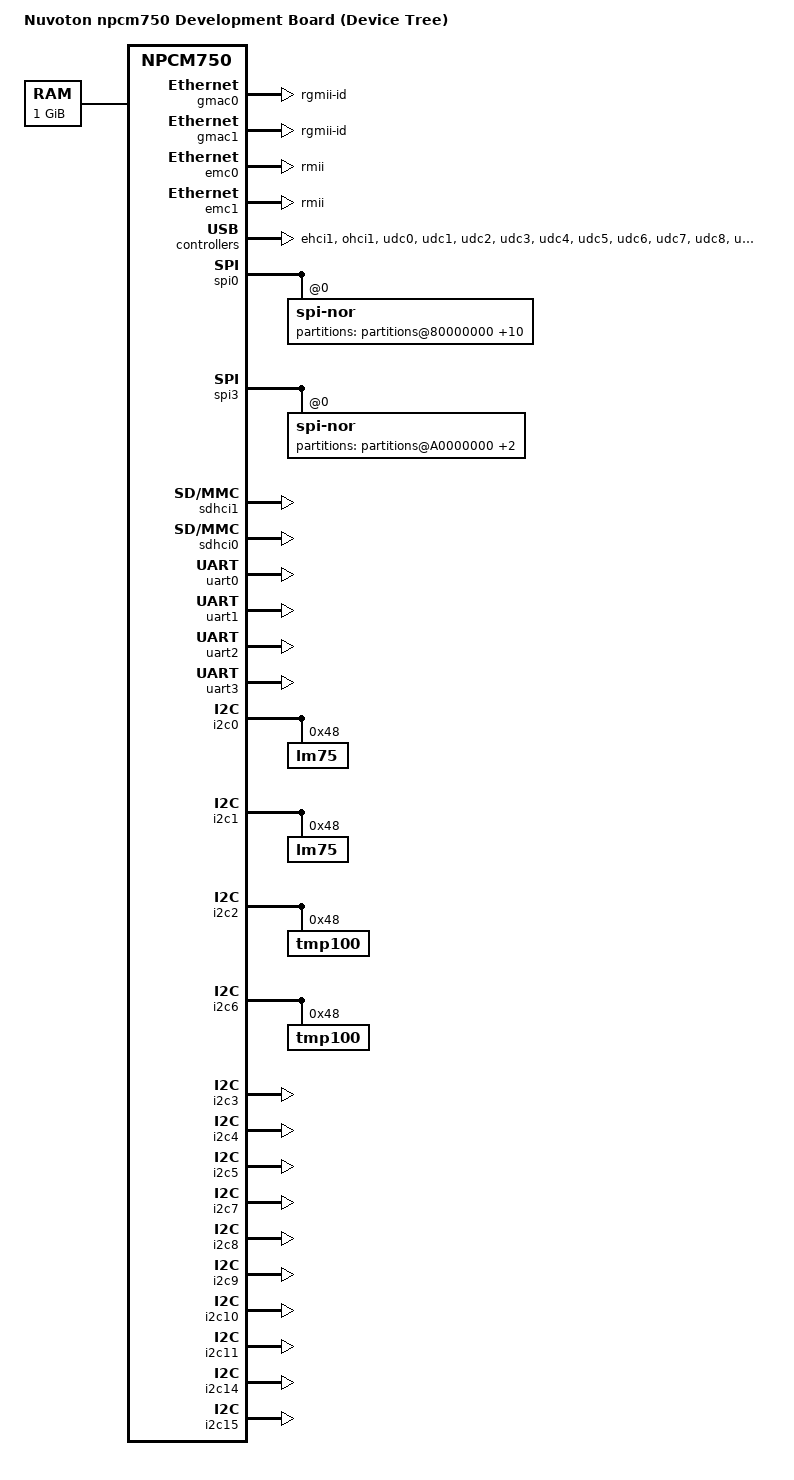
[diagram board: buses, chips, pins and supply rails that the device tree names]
/*
 * DTS file for all NPCMX750 SoCs
 *
 * Copyright 2012 Tomer Maimon <tomer.maimon@nuvoton.com>
 *
 * The code contained herein is licensed under the GNU General Public
 * License. You may obtain a copy of the GNU General Public License
 * Version 2 or later at the following locations:
 *
 * http://www.opensource.org/licenses/gpl-license.html
 * http://www.gnu.org/copyleft/gpl.html
 */

/dts-v1/;
#include "nuvoton-npcm750.dtsi"
#include "nuvoton-npcm750-gpio.dtsi"

/ {
        model = "Nuvoton npcm750 Development Board (Device Tree)";
        compatible = "nuvoton,npcmx50";

 	aliases {
 		ethernet0 = &emc0;
		ethernet1 = &emc1;
		ethernet2 = &gmac0;
		ethernet3 = &gmac1;
		serial0 = &uart0;
		serial1 = &uart1;
		serial2 = &uart2;
		serial3 = &uart3;
		udc0 = &udc0;
		udc1 = &udc1;
		udc2 = &udc2;
		udc3 = &udc3;
		udc4 = &udc4;
		udc5 = &udc5;
		udc6 = &udc6;
		udc7 = &udc7;
		udc8 = &udc8;
		udc9 = &udc9;
		emmc1 = &sdhci1;
		emmc0 = &sdhci0;
		i2c0 = &i2c0;
		i2c1 = &i2c1;
		i2c2 = &i2c2;
		i2c3 = &i2c3;
		i2c4 = &i2c4;
		i2c5 = &i2c5;
		i2c6 = &i2c6;
		i2c7 = &i2c7;
		i2c8 = &i2c8;
		i2c9 = &i2c9;
		i2c10 = &i2c10;
		i2c11 = &i2c11;
		i2c12 = &i2c12;
		i2c13 = &i2c13;
		i2c14 = &i2c14;
		i2c15 = &i2c15;
	};

    memory {
		reg = <0 0x40000000>;
	};
	
	clocks {
		clk: clock-controller@f0801000 {
			status = "okay";
		}; 
	
	};
	
	ahb {	
		gmac0: eth@f0802000 {
			pinctrl-names = "default";
			pinctrl-0 = <&rg1_pins
						 &rg1mdio_pins>;
			phy-mode = "rgmii-id";
			status = "okay";
		};

		gmac1: eth@f0804000 {
			pinctrl-names = "default";
			pinctrl-0 = <&rg2_pins
						 &rg2mdio_pins>;
			phy-mode = "rgmii-id";
			status = "okay";
		};

		emc0: eth@f0825000 {
			pinctrl-names = "default";
			pinctrl-0 = <&r1_pins
						 &r1err_pins
						 &r1md_pins>;
			phy-mode = "rmii";
			#use-ncsi; /* add this to support ncsi */
			status = "okay";
		};

		emc1: eth@f0826000 {
			pinctrl-names = "default";
			pinctrl-0 = <&r2_pins
						 &r2err_pins
						 &r2md_pins>;
			phy-mode = "rmii";
			status = "okay";
		};

		ehci1: ehci@f0806000 {				
			status = "okay";
		};

		ohci1: ohci@f0807000 {				
			status = "okay";
		};
		
		udc0:udc@f0830000 {				
			status = "okay";
		};
		
		udc1:udc@f0831000 {				
			status = "okay";
		};

		udc2:udc@f0832000 {				
			status = "okay";
		};

		udc3:udc@f0833000 {				
			status = "okay";
		};

		udc4:udc@f0834000 {				
			status = "okay";
		};

		udc5:udc@f0835000 {				
			status = "okay";
		};
		
		udc6:udc@f0836000 {				
			status = "okay";
		};

		udc7:udc@f0837000 {				
			status = "okay";
		};
		
		udc8:udc@f0838000 {				
			status = "okay";
		};

		udc9:udc@f0839000 {				
			status = "okay";
		};

		aes:aes@f0858000 {				
			status = "okay";
		};

		sha:sha@f085a000 {				
			status = "okay";
		};
		
		spi0: spi@fb000000 {
			spi-nor@0 {
                partitions@80000000 {
            		compatible = "fixed-partitions";
                    #address-cells = <1>;
    		        #size-cells = <1>;
            		bbuboot1@0 {
            			label = "bb-uboot-1";
            			reg = <0x0000000 0x80000>;
            			read-only;
            		};
            		bbuboot2@80000 {
                        label = "bb-uboot-2";
            			reg = <0x0080000 0x80000>;
                        read-only;
            		};
            		envparam@100000 {
                        label = "env-param";
            			reg = <0x0100000 0x40000>;
                        read-only;
            		};
            		spare@140000 {
                        label = "spare";
            			reg = <0x0140000 0xC0000>;
            		};
            		kernel@200000 {
                        label = "kernel";
            			reg = <0x0200000 0x400000>;
            		};
            		rootfs@600000 {
                        label = "rootfs";
            			reg = <0x0600000 0x700000>;
            		};
            		spare1@D00000 {
                        label = "spare1";
            			reg = <0x0D00000 0x200000>;
            		};
            		spare2@0F00000 {
                        label = "spare2";
            			reg = <0x0F00000 0x200000>;
            		};
            		spare3@1100000 {
                        label = "spare3";
            			reg = <0x1100000 0x200000>;
            		};
            		spare4@1300000 {
                        label = "spare4";
            			reg = <0x1300000 0x0>;
            		};
        	    };
			};
		};
		spi3: spi@c0000000 {
				spi-nor@0 {
				partitions@A0000000 {
					compatible = "fixed-partitions";
					#address-cells = <1>;
					#size-cells = <1>;
					system1@0 {
						label = "spi3-system1";
						reg = <0x0 0x800000>;
					};
					system2@800000 {
						label = "spi3-system2";
						reg = <0x800000 0x0>;
					};
				};
			};
		};
		sdhci1: sdhci@f0842000 {
			pinctrl-names = "default";
			pinctrl-0 = <&sd1_pins>;
			/*bus-width = <8>;
			keep-power-in-suspend;	
			enable-sdio-wakeup;
			non-removable;*/
			status = "okay";
		};

		sdhci0: sdhci@f0840000 {
			pinctrl-names = "default";
			pinctrl-0 = <&mmc8_pins
						 &mmc_pins>;
		 	/*no-1-8-v;
		 	sdhci,auto-cmd12;*/
			status = "okay";
		};

	};

	apb {
	
		watchdog1: watchdog@f0009000 {
			status = "okay";
		};

		rng: rng@f000b000 {
			status = "okay";
		};

		uart0: uart0@f0001000 {				
			status = "okay";
		};

		uart1: uart1@f0002000 {				
			status = "okay";
		};

		uart2: uart2@f0003000 {				
			status = "okay";
		};

		uart3: uart3@f0004000 {
			pinctrl-names = "default";
			pinctrl-0 = <&uart2_pins>;
			status = "okay";
		};

		otp:otp@f0189000 {				
			status = "okay";
		};
		
		
		/* lm75 on SVB */
		i2c0: i2c-bus@f0080000 {
			#address-cells = <1>;
			#size-cells = <0>;
			status = "okay";

			lm75@48 {
				compatible = "lm75";
				reg = <0x48>;
				status = "okay";
			};
		};
		
		/* lm75 on EB */
		i2c1: i2c-bus@f0081000 {
			#address-cells = <1>;
			#size-cells = <0>;
			status = "okay";

			lm75@48 {
				compatible = "lm75";
				reg = <0x48>;
				status = "okay";
			};
		};
		
		/* tmp100 on EB */
		i2c2: i2c-bus@f0082000 {
			#address-cells = <1>;
			#size-cells = <0>;
			status = "okay";

			tmp100@48 {
				compatible = "tmp100";
				reg = <0x48>;
				status = "okay";
			};
		};
				
		/* tmp100 on SVB */
		i2c6: i2c-bus@f0086000 {
			#address-cells = <1>;
			#size-cells = <0>;
			status = "okay";

			tmp100@48 {
				compatible = "tmp100";
				reg = <0x48>;
				status = "okay";
			};
		};
		
		/* TEB bus3 */
		i2c3: i2c-bus@f0083000 {
			#address-cells = <1>;
			#size-cells = <0>;
			status = "okay";
		};
		
		/* TEB bus4 */
		i2c4: i2c-bus@f0084000 {
			#address-cells = <1>;
			#size-cells = <0>;
			status = "okay";
		};

		/* TEB bus5 */
		i2c5: i2c-bus@f0085000 {
			#address-cells = <1>;
			#size-cells = <0>;
			status = "okay";
		};

		/* TEB bus7 */
		i2c7: i2c-bus@f0087000 {
			#address-cells = <1>;
			#size-cells = <0>;
			status = "okay";
		};

		/* TEB bus8 */
		i2c8: i2c-bus@f0088000 {
			#address-cells = <1>;
			#size-cells = <0>;
			status = "okay";
		};

		/* TEB bus9 */
		i2c9: i2c-bus@f0089000 {
			#address-cells = <1>;
			#size-cells = <0>;
			status = "okay";
		};

		/* TEB bus10 */
		i2c10: i2c-bus@f008a000 {
			#address-cells = <1>;
			#size-cells = <0>;
			status = "okay";
		};

		/* TEB bus11 */
		i2c11: i2c-bus@f008b000 {
			#address-cells = <1>;
			#size-cells = <0>;
			status = "okay";
		};

		/* TEB bus14 */
		i2c14: i2c-bus@f008e000 {
			#address-cells = <1>;
			#size-cells = <0>;
			status = "okay";
		};

		/* TEB bus15 */
		i2c15: i2c-bus@f008f000 {
			#address-cells = <1>;
			#size-cells = <0>;
			status = "okay";
		};
		
        	mft: mft@0 {
			pinctrl-names = "default";
			pinctrl-0 = <&fanin0_pins
                         &fanin1_pins
                         &fanin2_pins
                         &fanin3_pins
                         &fanin4_pins
                         &fanin5_pins
                         &fanin6_pins
                         &fanin7_pins
                         &fanin8_pins
                         &fanin9_pins
                         &fanin10_pins
                         &fanin11_pins
                         &fanin12_pins
                         &fanin13_pins
                         &fanin14_pins
                         &fanin15_pins>;
			status = "okay";
	};
	
	};

		planar@01 {
		SVB {
			target = <&pinctrl>;
			__overlay__ {
				status = "okay";
				pinctrl-names = "default";
				pinctrl-0 = <
					&gpio0o_pins
					&gpio1_pins
					&gpio2o_pins
					&gpio3_pins
					/*&smb1d_pins
					&smb2d_pins*/
					&gpio8_pins
					&gpio9o_pins
					&gpio10_pins
					&gpio11o_pins
					/*&smb5b_pins
					&smb5c_pins*/
					&gpio16_pins
					&gpio17_pins
					/*&smb4b_pins
					&smb4c_pins
					&smb4d_pins*/
					&gpio24o_pins
					&gpio25ol_pins
					/*&smb5_pins
					&smb4_pins
					&smb3_pins*/
					&gpio32o_pins
					&spi0quad_pins
					/*&smb3c_pins
					&smb3b_pins*/
					/*&gpio41_pins
					&gpio42_pins*/
					&jtag2_pins
					/*&r1err_pins
					&gpio57_pins
					&gpio58_pins*/
					/*smb3d_pins*/
					&gpio61o_pins
					&gpio62o_pins
					&gpio63o_pins
					/*&gpio64_pins
					&gpio65_pins
					&gpio66_pins
					&gpio67_pins
					&gpio68_pins
					&gpio69_pins
					&gpio70_pins
					&gpio71_pins
					&gpio72_pins
					&gpio73_pins
					&gpio74_pins
					&gpio75_pins
					&gpio76_pins
					&gpio77_pins
					&gpio78_pins
					&gpio79_pins*/
					&gpio80_pins
					&gpio81_pins
					&gpio82_pins
					&gpio83_pins
					/*&smb5d_pins*/
					&lpc_pins
					/*&smb0_pins
					&smb1_pins
					&smb2_pins
					&smb2c_pins
					&smb2b_pins
					&smb1c_pins
					&smb1b_pins
					&smb8_pins*/
					&gpio132o_pins
					&gpio133_pins
					&gpio134_pins
					&gpio135_pins
					&gpio144_pins
					&gpio145_pins
					&gpio146_pins
					&gpio147_pins
					/*&gpio153_pins
					&gpio155_pins*/
					&gpio160_pins
					&gpio162_pins
					&gpio168_pins
					&gpio169_pins
					&gpio170_pins
					/*&smb6_pins
					&smb7_pins*/
					&gpio175_pins
					&gpio176_pins
					&gpio177o_pins
					&spi3_pins
					&gpio187o_pins
					&spi3quad_pins
					&gpio190_pins
					&gpio191o_pins
					&gpio192o_pins
					/*&smb0b_pins
					&smb0c_pins*/
					&gpio197ol_pins
					/*&smb0d_pins*/
					/*&gpio200_pins*/
					&gpio203o_pins
					&ddc_pins
					&gpio218_pins
					&gpio219ol_pins
					&gpio220ol_pins
					&gpio221o_pins
					&gpio222_pins
					&gpio223ol_pins
					&spix_pins
					&gpio228ol_pins
					&gpio231o_pins
					&gpio255_pins
				>;
			};
		};
	};

};
